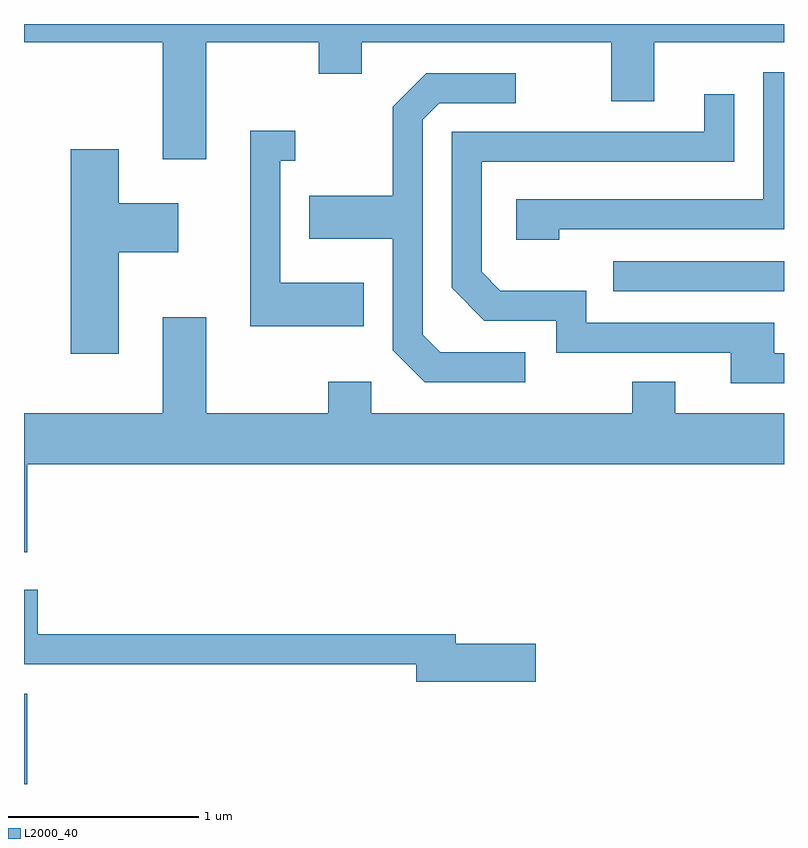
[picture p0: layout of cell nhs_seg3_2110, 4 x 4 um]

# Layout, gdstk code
import gdstk
lib = gdstk.Library(unit=1e-6, precision=1e-09)
def R(c, l, rs):  # rectangles x0, y0, x1, y1
    for r in rs: c.add(gdstk.rectangle(r[:2], r[2:], *l))
def P(c, l, *ps):  # polygons
    for p in ps: c.add(gdstk.Polygon(p, *l))
L2000_40 = (2000, 40)

nhs_seg3_2110 = lib.new_cell('nhs_seg3_2110')
R(nhs_seg3_2110, L2000_40, [(247.611,1119.892,247.629,1120.368), (250.713,1122.486,251.611,1122.644)])
P(nhs_seg3_2110, L2000_40, [(248.569,1123.796),(249.161,1123.796),(249.161,1123.631),(249.389,1123.631),(249.389,1123.796),(250.701,1123.796),(250.701,1123.486),(250.929,1123.486),(250.929,1123.796),(251.611,1123.796),(251.611,1123.892),(247.611,1123.892),(247.611,1123.796),(248.341,1123.796),(248.341,1123.181),(248.569,1123.181)],
  [(250.429,1122.811),(251.611,1122.811),(251.611,1123.639),(251.501,1123.639),(251.501,1122.969),(250.201,1122.969),(250.201,1122.756),(250.429,1122.756)],
  [(250.248,1122.164),(249.802,1122.164),(249.709,1122.257),(249.709,1123.389),(249.797,1123.476),(250.198,1123.476),(250.198,1123.634),(249.729,1123.634),(249.551,1123.457),(249.551,1122.989),(249.111,1122.989),(249.111,1122.761),(249.551,1122.761),(249.551,1122.174),(249.719,1122.006),(250.248,1122.006)],
  [(251.611,1122.159),(251.559,1122.159),(251.559,1122.319),(250.569,1122.319),(250.569,1122.489),(250.117,1122.489),(250.019,1122.587),(250.019,1123.166),(251.349,1123.166),(251.349,1123.523),(251.191,1123.523),(251.191,1123.324),(249.861,1123.324),(249.861,1122.504),(250.034,1122.331),(250.411,1122.331),(250.411,1122.161),(251.331,1122.161),(251.331,1122.001),(251.611,1122.001)],
  [(249.399,1122.529),(248.959,1122.529),(248.959,1123.171),(249.038,1123.171),(249.038,1123.329),(248.801,1123.329),(248.801,1122.301),(249.399,1122.301)],
  [(248.109,1122.691),(248.424,1122.691),(248.424,1122.949),(248.109,1122.949),(248.109,1123.234),(247.856,1123.234),(247.856,1122.156),(248.109,1122.156)],
  [(247.629,1121.576),(251.611,1121.576),(251.611,1121.844),(251.039,1121.844),(251.039,1122.009),(250.811,1122.009),(250.811,1121.844),(249.439,1121.844),(249.439,1122.009),(249.211,1122.009),(249.211,1121.844),(248.569,1121.844),(248.569,1122.349),(248.341,1122.349),(248.341,1121.844),(247.611,1121.844),(247.611,1121.113),(247.629,1121.113)],
  [(250.304,1120.629),(249.884,1120.629),(249.884,1120.679),(247.684,1120.679),(247.684,1120.914),(247.611,1120.914),(247.611,1120.521),(249.676,1120.521),(249.676,1120.431),(250.304,1120.431)])

lib.write_gds('nhs_seg3_2110.gds')
